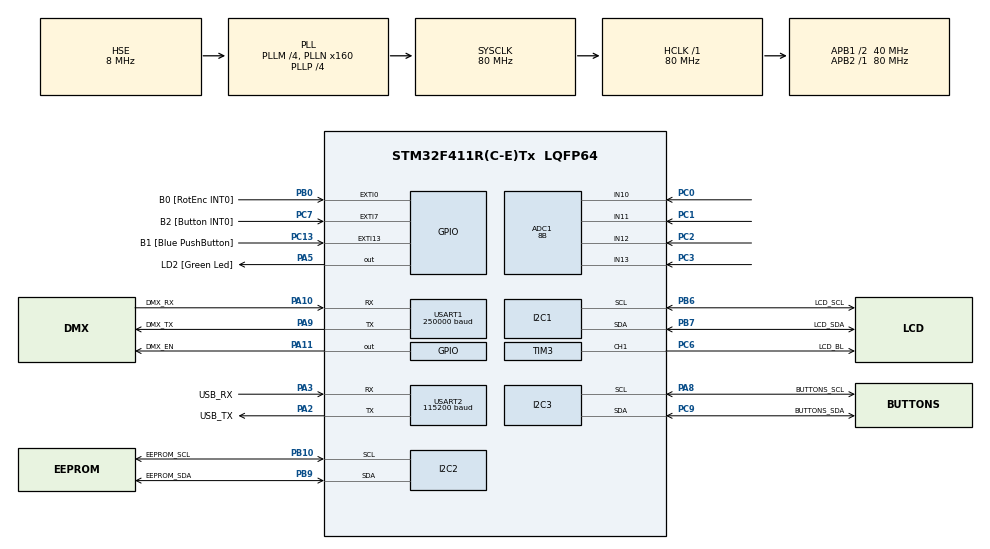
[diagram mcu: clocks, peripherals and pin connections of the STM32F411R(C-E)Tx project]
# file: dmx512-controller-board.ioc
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ADC1.Channel-0\#ChannelRegularConversion=ADC_CHANNEL_10
ADC1.Channel-10\#ChannelInjectedConversion=ADC_CHANNEL_12
ADC1.Channel-11\#ChannelInjectedConversion=ADC_CHANNEL_13
ADC1.Channel-12\#ChannelRegularConversion=ADC_CHANNEL_11
ADC1.Channel-13\#ChannelRegularConversion=ADC_CHANNEL_12
ADC1.Channel-14\#ChannelRegularConversion=ADC_CHANNEL_13
ADC1.Channel-8\#ChannelInjectedConversion=ADC_CHANNEL_10
ADC1.Channel-9\#ChannelInjectedConversion=ADC_CHANNEL_11
ADC1.ClockPrescaler=ADC_CLOCK_SYNC_PCLK_DIV4
ADC1.ContinuousConvMode=DISABLE
ADC1.DMAContinuousRequests=ENABLE
ADC1.DataAlign=ADC_DATAALIGN_RIGHT
ADC1.DiscontinuousConvMode=DISABLE
ADC1.EOCSelection=ADC_EOC_SEQ_CONV
ADC1.EnableAnalogWatchDog=false
ADC1.ExternalTrigConv=ADC_SOFTWARE_START
ADC1.ExternalTrigConvEdge=ADC_EXTERNALTRIGCONVEDGE_NONE
ADC1.ExternalTrigInjecConv=ADC_INJECTED_SOFTWARE_START
ADC1.InjNumberOfConversion=4
ADC1.InjectedConvMode=None
ADC1.InjectedOffset-10\#ChannelInjectedConversion=0
ADC1.InjectedOffset-11\#ChannelInjectedConversion=0
ADC1.InjectedOffset-8\#ChannelInjectedConversion=0
ADC1.InjectedOffset-9\#ChannelInjectedConversion=0
ADC1.NbrOfConversion=4
ADC1.NbrOfConversionFlag=1
ADC1.Rank-0\#ChannelRegularConversion=1
ADC1.Rank-10\#ChannelInjectedConversion=3
ADC1.Rank-11\#ChannelInjectedConversion=4
ADC1.Rank-12\#ChannelRegularConversion=2
ADC1.Rank-13\#ChannelRegularConversion=3
ADC1.Rank-14\#ChannelRegularConversion=4
ADC1.Rank-8\#ChannelInjectedConversion=1
ADC1.Rank-9\#ChannelInjectedConversion=2
ADC1.Resolution=ADC_RESOLUTION_8B
ADC1.SamplingTime-0\#ChannelRegularConversion=ADC_SAMPLETIME_3CYCLES
ADC1.SamplingTime-10\#ChannelInjectedConversion=ADC_SAMPLETIME_3CYCLES
ADC1.SamplingTime-11\#ChannelInjectedConversion=ADC_SAMPLETIME_3CYCLES
ADC1.SamplingTime-12\#ChannelRegularConversion=ADC_SAMPLETIME_3CYCLES
ADC1.SamplingTime-13\#ChannelRegularConversion=ADC_SAMPLETIME_3CYCLES
ADC1.SamplingTime-14\#ChannelRegularConversion=ADC_SAMPLETIME_3CYCLES
ADC1.SamplingTime-8\#ChannelInjectedConversion=ADC_SAMPLETIME_3CYCLES
ADC1.SamplingTime-9\#ChannelInjectedConversion=ADC_SAMPLETIME_3CYCLES
ADC1.ScanConvMode=ENABLE
ADC1.master=1
Dma.ADC1.9.Direction=DMA_PERIPH_TO_MEMORY
Dma.ADC1.9.FIFOMode=DMA_FIFOMODE_DISABLE
Dma.ADC1.9.Instance=DMA2_Stream0
Dma.ADC1.9.MemDataAlignment=DMA_MDATAALIGN_HALFWORD
Dma.ADC1.9.MemInc=DMA_MINC_ENABLE
Dma.ADC1.9.Mode=DMA_CIRCULAR
Dma.ADC1.9.PeriphDataAlignment=DMA_PDATAALIGN_HALFWORD
Dma.ADC1.9.PeriphInc=DMA_PINC_DISABLE
Dma.ADC1.9.Priority=DMA_PRIORITY_LOW
Dma.I2C1_RX.6.Direction=DMA_PERIPH_TO_MEMORY
Dma.I2C1_RX.6.FIFOMode=DMA_FIFOMODE_DISABLE
Dma.I2C1_RX.6.Instance=DMA1_Stream0
Dma.I2C1_RX.6.MemDataAlignment=DMA_MDATAALIGN_BYTE
Dma.I2C1_RX.6.MemInc=DMA_MINC_ENABLE
Dma.I2C1_RX.6.Mode=DMA_CIRCULAR
Dma.I2C1_RX.6.PeriphDataAlignment=DMA_PDATAALIGN_BYTE
Dma.I2C1_RX.6.PeriphInc=DMA_PINC_DISABLE
Dma.I2C1_RX.6.Priority=DMA_PRIORITY_LOW
Dma.I2C1_TX.5.Direction=DMA_MEMORY_TO_PERIPH
Dma.I2C1_TX.5.FIFOMode=DMA_FIFOMODE_DISABLE
Dma.I2C1_TX.5.Instance=DMA1_Stream1
Dma.I2C1_TX.5.MemDataAlignment=DMA_MDATAALIGN_BYTE
Dma.I2C1_TX.5.MemInc=DMA_MINC_ENABLE
Dma.I2C1_TX.5.Mode=DMA_NORMAL
Dma.I2C1_TX.5.PeriphDataAlignment=DMA_PDATAALIGN_BYTE
Dma.I2C1_TX.5.PeriphInc=DMA_PINC_DISABLE
Dma.I2C1_TX.5.Priority=DMA_PRIORITY_LOW
Dma.I2C2_RX.7.Direction=DMA_PERIPH_TO_MEMORY
Dma.I2C2_RX.7.FIFOMode=DMA_FIFOMODE_DISABLE
Dma.I2C2_RX.7.Instance=DMA1_Stream3
Dma.I2C2_RX.7.MemDataAlignment=DMA_MDATAALIGN_BYTE
Dma.I2C2_RX.7.MemInc=DMA_MINC_ENABLE
Dma.I2C2_RX.7.Mode=DMA_CIRCULAR
Dma.I2C2_RX.7.PeriphDataAlignment=DMA_PDATAALIGN_BYTE
Dma.I2C2_RX.7.PeriphInc=DMA_PINC_DISABLE
Dma.I2C2_RX.7.Priority=DMA_PRIORITY_LOW
Dma.I2C2_TX.8.Direction=DMA_MEMORY_TO_PERIPH
Dma.I2C2_TX.8.FIFOMode=DMA_FIFOMODE_DISABLE
Dma.I2C2_TX.8.Instance=DMA1_Stream7
Dma.I2C2_TX.8.MemDataAlignment=DMA_MDATAALIGN_BYTE
Dma.I2C2_TX.8.MemInc=DMA_MINC_ENABLE
Dma.I2C2_TX.8.Mode=DMA_NORMAL
Dma.I2C2_TX.8.PeriphDataAlignment=DMA_PDATAALIGN_BYTE
Dma.I2C2_TX.8.PeriphInc=DMA_PINC_DISABLE
Dma.I2C2_TX.8.Priority=DMA_PRIORITY_LOW
Dma.I2C3_RX.2.Direction=DMA_PERIPH_TO_MEMORY
Dma.I2C3_RX.2.FIFOMode=DMA_FIFOMODE_DISABLE
Dma.I2C3_RX.2.Instance=DMA1_Stream2
Dma.I2C3_RX.2.MemDataAlignment=DMA_MDATAALIGN_BYTE
Dma.I2C3_RX.2.MemInc=DMA_MINC_ENABLE
Dma.I2C3_RX.2.Mode=DMA_CIRCULAR
Dma.I2C3_RX.2.PeriphDataAlignment=DMA_PDATAALIGN_BYTE
Dma.I2C3_RX.2.PeriphInc=DMA_PINC_DISABLE
Dma.I2C3_RX.2.Priority=DMA_PRIORITY_LOW
Dma.I2C3_TX.3.Direction=DMA_MEMORY_TO_PERIPH
Dma.I2C3_TX.3.FIFOMode=DMA_FIFOMODE_DISABLE
Dma.I2C3_TX.3.Instance=DMA1_Stream4
Dma.I2C3_TX.3.MemDataAlignment=DMA_MDATAALIGN_BYTE
Dma.I2C3_TX.3.MemInc=DMA_MINC_ENABLE
Dma.I2C3_TX.3.Mode=DMA_NORMAL
Dma.I2C3_TX.3.PeriphDataAlignment=DMA_PDATAALIGN_BYTE
Dma.I2C3_TX.3.PeriphInc=DMA_PINC_DISABLE
Dma.I2C3_TX.3.Priority=DMA_PRIORITY_LOW
Dma.Request0=USART2_RX
Dma.Request1=USART2_TX
Dma.Request2=I2C3_RX
Dma.Request3=I2C3_TX
Dma.Request4=USART1_TX
Dma.Request5=I2C1_TX
Dma.Request6=I2C1_RX
Dma.Request7=I2C2_RX
Dma.Request8=I2C2_TX
Dma.Request9=ADC1
Dma.USART1_TX.4.Direction=DMA_MEMORY_TO_PERIPH
Dma.USART1_TX.4.FIFOMode=DMA_FIFOMODE_DISABLE
Dma.USART1_TX.4.Instance=DMA2_Stream7
Dma.USART1_TX.4.MemDataAlignment=DMA_MDATAALIGN_BYTE
Dma.USART1_TX.4.MemInc=DMA_MINC_ENABLE
Dma.USART1_TX.4.Mode=DMA_NORMAL
Dma.USART1_TX.4.PeriphDataAlignment=DMA_PDATAALIGN_BYTE
Dma.USART1_TX.4.PeriphInc=DMA_PINC_DISABLE
Dma.USART1_TX.4.Priority=DMA_PRIORITY_LOW
Dma.USART2_RX.0.Direction=DMA_PERIPH_TO_MEMORY
Dma.USART2_RX.0.FIFOMode=DMA_FIFOMODE_DISABLE
Dma.USART2_RX.0.Instance=DMA1_Stream5
Dma.USART2_RX.0.MemDataAlignment=DMA_MDATAALIGN_BYTE
Dma.USART2_RX.0.MemInc=DMA_MINC_ENABLE
Dma.USART2_RX.0.Mode=DMA_CIRCULAR
Dma.USART2_RX.0.PeriphDataAlignment=DMA_PDATAALIGN_BYTE
Dma.USART2_RX.0.PeriphInc=DMA_PINC_DISABLE
Dma.USART2_RX.0.Priority=DMA_PRIORITY_LOW
Dma.USART2_TX.1.Direction=DMA_MEMORY_TO_PERIPH
Dma.USART2_TX.1.FIFOMode=DMA_FIFOMODE_DISABLE
Dma.USART2_TX.1.Instance=DMA1_Stream6
Dma.USART2_TX.1.MemDataAlignment=DMA_MDATAALIGN_BYTE
Dma.USART2_TX.1.MemInc=DMA_MINC_ENABLE
Dma.USART2_TX.1.Mode=DMA_NORMAL
Dma.USART2_TX.1.PeriphDataAlignment=DMA_PDATAALIGN_BYTE
Dma.USART2_TX.1.PeriphInc=DMA_PINC_DISABLE
Dma.USART2_TX.1.Priority=DMA_PRIORITY_LOW
I2C1.I2C_Mode=I2C_Fast
I2C2.I2C_Mode=I2C_Fast
I2C3.I2C_Mode=I2C_Fast
Mcu.Family=STM32F4
Mcu.Name=STM32F411R(C-E)Tx
Mcu.Package=LQFP64
NVIC.ADC_IRQn=true\:0\:0\:false\:false\:true
NVIC.DMA1_Stream0_IRQn=true\:0\:0\:false\:false\:true
NVIC.DMA1_Stream1_IRQn=true\:0\:0\:false\:false\:true
NVIC.DMA1_Stream2_IRQn=true\:0\:0\:false\:false\:true
NVIC.DMA1_Stream3_IRQn=true\:0\:0\:false\:false\:true
NVIC.DMA1_Stream4_IRQn=true\:0\:0\:false\:false\:true
NVIC.DMA1_Stream5_IRQn=true\:0\:0\:false\:false\:true
NVIC.DMA1_Stream6_IRQn=true\:0\:0\:false\:false\:true
NVIC.DMA1_Stream7_IRQn=true\:0\:0\:false\:false\:true
NVIC.DMA2_Stream0_IRQn=true\:0\:0\:false\:false\:true
NVIC.DMA2_Stream7_IRQn=true\:0\:0\:false\:false\:true
NVIC.I2C1_EV_IRQn=true\:0\:0\:false\:false\:true
NVIC.I2C2_EV_IRQn=true\:0\:0\:false\:false\:true
NVIC.I2C3_EV_IRQn=true\:0\:0\:false\:false\:true
NVIC.PriorityGroup=NVIC_PRIORITYGROUP_0
NVIC.TIM2_IRQn=true\:0\:0\:false\:false\:true
NVIC.TIM4_IRQn=true\:0\:0\:false\:false\:true
PA10.GPIO_Label=DMX_RX
PA10.Mode=Asynchronous
PA10.Signal=USART1_RX
PA11.GPIO_Label=DMX_EN
PA11.PinState=GPIO_PIN_SET
PA11.Signal=GPIO_Output
PA13.GPIO_Label=TMS
PA13.Mode=Serial_Wire
PA13.Signal=SYS_JTMS-SWDIO
PA14.GPIO_Label=TCK
PA14.Mode=Serial_Wire
PA14.Signal=SYS_JTCK-SWCLK
PA2.GPIO_Label=USB_TX
PA2.Mode=Asynchronous
PA2.Signal=USART2_TX
PA3.GPIO_Label=USB_RX
PA3.Mode=Asynchronous
PA3.Signal=USART2_RX
PA5.GPIO_Label=LD2 [Green Led]
PA5.Signal=GPIO_Output
PA8.GPIO_Label=BUTTONS_SCL
PA8.Mode=I2C
PA8.Signal=I2C3_SCL
PA9.GPIO_Label=DMX_TX
PA9.Mode=Asynchronous
PA9.Signal=USART1_TX
PB0.GPIO_Label=B0 [RotEnc INT0]
PB0.GPIO_ModeDefaultEXTI=GPIO_MODE_IT_RISING_FALLING
PB0.Signal=GPXTI0
PB10.GPIO_Label=EEPROM_SCL
PB10.Mode=I2C
PB10.Signal=I2C2_SCL
PB3.GPIO_Label=SWO
PB3.Signal=SYS_JTDO-SWO
PB6.GPIO_Label=LCD_SCL
PB6.Mode=I2C
PB6.Signal=I2C1_SCL
PB7.GPIO_Label=LCD_SDA
PB7.Mode=I2C
PB7.Signal=I2C1_SDA
PB9.GPIO_Label=EEPROM_SDA
PB9.Mode=I2C
PB9.Signal=I2C2_SDA
PC0.Signal=ADCx_IN10
PC1.Signal=ADCx_IN11
PC13-ANTI_TAMP.GPIO_Label=B1 [Blue PushButton]
PC13-ANTI_TAMP.GPIO_ModeDefaultEXTI=GPIO_MODE_IT_FALLING
PC13-ANTI_TAMP.Signal=GPXTI13
PC14-OSC32_IN.Mode=LSE-External-Oscillator
PC14-OSC32_IN.Signal=RCC_OSC32_IN
PC15-OSC32_OUT.Mode=LSE-External-Oscillator
PC15-OSC32_OUT.Signal=RCC_OSC32_OUT
PC2.Signal=ADCx_IN12
PC3.Signal=ADCx_IN13
PC6.GPIO_Label=LCD_BL
PC6.Signal=S_TIM3_CH1
PC7.GPIO_Label=B2 [Button INT0]
PC7.GPIO_ModeDefaultEXTI=GPIO_MODE_IT_RISING_FALLING
PC7.Signal=GPXTI7
PC9.GPIO_Label=BUTTONS_SDA
PC9.Mode=I2C
PC9.Signal=I2C3_SDA
PH0\ -\ OSC_IN.Mode=HSE-External-Oscillator
PH0\ -\ OSC_IN.Signal=RCC_OSC_IN
PH1\ -\ OSC_OUT.Mode=HSE-External-Oscillator
PH1\ -\ OSC_OUT.Signal=RCC_OSC_OUT
ProjectManager.HeapSize=0x200
ProjectManager.StackSize=0x400
ProjectManager.TargetToolchain=TrueSTUDIO
RCC.48MHZClocksFreq_Value=80000000
RCC.AHBFreq_Value=80000000
RCC.APB1CLKDivider=RCC_HCLK_DIV2
RCC.APB1Freq_Value=40000000
RCC.APB1TimFreq_Value=80000000
RCC.APB2Freq_Value=80000000
RCC.APB2TimFreq_Value=80000000
RCC.CortexFreq_Value=80000000
RCC.FLatency-AdvancedSettings=FLASH_LATENCY_2
RCC.HCLKFreq_Value=80000000
RCC.HSE_VALUE=8000000
RCC.HSI_VALUE=16000000
RCC.PLLM=4
RCC.PLLN=160
RCC.PLLP=RCC_PLLP_DIV4
RCC.PLLSourceVirtual=RCC_PLLSOURCE_HSE
RCC.SYSCLKFreq_VALUE=80000000
RCC.SYSCLKSource=RCC_SYSCLKSOURCE_PLLCLK
RCC.VCOOutputFreq_Value=320000000
SH.ADCx_IN10.0=ADC1_IN10,IN10
SH.ADCx_IN11.0=ADC1_IN11,IN11
SH.ADCx_IN12.0=ADC1_IN12,IN12
SH.ADCx_IN13.0=ADC1_IN13,IN13
SH.S_TIM3_CH1.0=TIM3_CH1,PWM Generation1 CH1
TIM2.Period=0xFFFFFFFF
TIM2.Prescaler=79
TIM3.Period=100
TIM3.Prescaler=0
TIM3.Pulse-PWM\ Generation1\ CH1=100
TIM4.Period=0xFFFF
TIM4.Prescaler=79
USART1.BaudRate=250000
USART1.Mode=MODE_TX
USART1.StopBits=STOPBITS_2
USART2.BaudRate=115200
VP_TIM2_VS_ClockSourceINT.Mode=Internal
VP_TIM3_VS_ClockSourceINT.Mode=Internal
VP_TIM4_VS_ClockSourceINT.Mode=Internal
board=NUCLEO-F411RE

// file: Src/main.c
/**
 ******************************************************************************
 * File Name          : main.c
 * Description        : Main program body
 ******************************************************************************
 *
 * COPYRIGHT(c) 2017 STMicroelectronics
 *
 * Redistribution and use in source and binary forms, with or without modification,
 * are permitted provided that the following conditions are met:
 *   1. Redistributions of source code must retain the above copyright notice,
 *      this list of conditions and the following disclaimer.
 *   2. Redistributions in binary form must reproduce the above copyright notice,
 *      this list of conditions and the following disclaimer in the documentation
 *      and/or other materials provided with the distribution.
 *   3. Neither the name of STMicroelectronics nor the names of its contributors
 *      may be used to endorse or promote products derived from this software
 *      without specific prior written permission.
 *
 * THIS SOFTWARE IS PROVIDED BY THE COPYRIGHT HOLDERS AND CONTRIBUTORS "AS IS"
 * AND ANY EXPRESS OR IMPLIED WARRANTIES, INCLUDING, BUT NOT LIMITED TO, THE
 * IMPLIED WARRANTIES OF MERCHANTABILITY AND FITNESS FOR A PARTICULAR PURPOSE ARE
 * DISCLAIMED. IN NO EVENT SHALL THE COPYRIGHT HOLDER OR CONTRIBUTORS BE LIABLE
 * FOR ANY DIRECT, INDIRECT, INCIDENTAL, SPECIAL, EXEMPLARY, OR CONSEQUENTIAL
 * DAMAGES (INCLUDING, BUT NOT LIMITED TO, PROCUREMENT OF SUBSTITUTE GOODS OR
 * SERVICES; LOSS OF USE, DATA, OR PROFITS; OR BUSINESS INTERRUPTION) HOWEVER
 * CAUSED AND ON ANY THEORY OF LIABILITY, WHETHER IN CONTRACT, STRICT LIABILITY,
 * OR TORT (INCLUDING NEGLIGENCE OR OTHERWISE) ARISING IN ANY WAY OUT OF THE USE
 * OF THIS SOFTWARE, EVEN IF ADVISED OF THE POSSIBILITY OF SUCH DAMAGE.
 *
 ******************************************************************************
 */
#include "main.h"
#include "stm32f4xx_hal.h"

/* USER CODE BEGIN Includes */
#include <stdio.h>
#include <stdlib.h>
#include <stdint.h>

#include "serial.h"
#include "dmx512.h"
#include "eeprom.h"
#include "lcd.h"
#include "buttons.h"
#include "controller.h"
#include "sys_public.h"

/* USER CODE END Includes */

ADC_HandleTypeDef hadc1;
DMA_HandleTypeDef hdma_adc1;

I2C_HandleTypeDef hi2c1;
I2C_HandleTypeDef hi2c2;
I2C_HandleTypeDef hi2c3;
DMA_HandleTypeDef hdma_i2c1_tx;
DMA_HandleTypeDef hdma_i2c1_rx;
DMA_HandleTypeDef hdma_i2c2_rx;
DMA_HandleTypeDef hdma_i2c2_tx;
DMA_HandleTypeDef hdma_i2c3_rx;
DMA_HandleTypeDef hdma_i2c3_tx;

TIM_HandleTypeDef htim2;
TIM_HandleTypeDef htim3;
TIM_HandleTypeDef htim4;

UART_HandleTypeDef huart1;
UART_HandleTypeDef huart2;
DMA_HandleTypeDef hdma_usart1_tx;
DMA_HandleTypeDef hdma_usart2_rx;
DMA_HandleTypeDef hdma_usart2_tx;

/* USER CODE BEGIN PV */
/* Private variables ---------------------------------------------------------*/
volatile uint8_t adcFinished = 1;

/* USER CODE END PV */

void SystemClock_Config(void);
void Error_Handler(void);
static void MX_GPIO_Init(void);
static void MX_DMA_Init(void);
static void MX_ADC1_Init(void);
static void MX_I2C1_Init(void);
static void MX_I2C2_Init(void);
static void MX_I2C3_Init(void);
static void MX_TIM2_Init(void);
static void MX_TIM3_Init(void);
static void MX_USART1_UART_Init(void);
static void MX_USART2_UART_Init(void);
static void MX_TIM4_Init(void);

void HAL_TIM_MspPostInit(TIM_HandleTypeDef *htim);

/* USER CODE BEGIN PFP */
/* Private function prototypes -----------------------------------------------*/

/* USER CODE END PFP */

/* USER CODE BEGIN 0 */
void EXTI15_10_IRQHandler(void) {
	// Blue button interrupt
	EXTI->PR |= B1_Pin;
}

void HAL_ADCEx_InjectedConvCpltCallback(ADC_HandleTypeDef* hadc) {
	// ADC has finished reading and converting the values on the four pins
	adcValues[0] = HAL_ADCEx_InjectedGetValue(&hadc1, ADC_INJECTED_RANK_1);
	adcValues[1] = HAL_ADCEx_InjectedGetValue(&hadc1, ADC_INJECTED_RANK_2);
	adcValues[2] = HAL_ADCEx_InjectedGetValue(&hadc1, ADC_INJECTED_RANK_3);
	adcValues[3] = HAL_ADCEx_InjectedGetValue(&hadc1, ADC_INJECTED_RANK_4);
	adcFinished = 1;
}

static uint16_t Buffercmp(uint8_t *pBuffer1, uint8_t *pBuffer2, uint16_t BufferLength) {
	while (BufferLength--) {
		uint8_t a = *pBuffer1;
		uint8_t b = *pBuffer2;
		if (a != b) {
			return 0;
		}
		pBuffer1++;
		pBuffer2++;
	}
	return 1;
}

int testEEPROM() {
	uint16_t len = 512;
	uint8_t data[len];
	uint8_t result[len];
	int i;
	for (i = 0; i < len; i++) {
		data[i] = 0;
	}
	for (i = 0; i < 9; i++) {
		EEPROMwrite(512 * i, (uint8_t *) data, len);
		while (!EEPROMfinished())
			;
		EEPROMread(512 * i, (uint8_t *) result, len);
		while (!EEPROMfinished())
			;
		if (!Buffercmp((uint8_t *) data, (uint8_t *) result, len))
			return 0;
	}
	return 1;
}
/* USER CODE END 0 */

int main(void) {

	/* MCU Configuration----------------------------------------------------------*/

	/* Reset of all peripherals, Initializes the Flash interface and the Systick. */
	HAL_Init();

	/* Configure the system clock */
	SystemClock_Config();

	/* Initialize all configured peripherals */
	MX_GPIO_Init();
	MX_DMA_Init();
	MX_ADC1_Init();
	MX_I2C1_Init();
	MX_I2C2_Init();
	MX_I2C3_Init();
	MX_TIM2_Init();
	MX_TIM3_Init();
	MX_USART1_UART_Init();
	MX_USART2_UART_Init();
	MX_TIM4_Init();

	/* USER CODE BEGIN 2 */
	LCDinit(&htim4, &htim3, &hi2c1);
	LCDfadeBrightness(100, 3);

	LCDclearRow(0);
	LCDcursorPos(0, 0);
	LCDwrite("ERROR COM");
	SerialInit(&huart2);

	LCDclearRow(0);
	LCDcursorPos(0, 0);
	LCDwrite("ERROR DMX");
	Dmx512Init(&htim2, &huart1);

	LCDclearRow(0);
	LCDcursorPos(0, 0);
	LCDwrite("ERROR EEPROM");
	EEPROMInit(&hi2c2);
//	if (!testEEPROM()) {
//		LCDcursorPos(0, 0);
//		LCDwrite("EEPROM Test failed");
//		while (1)
//			;
//	}

	LCDclearRow(0);
	LCDcursorPos(0, 0);
	LCDwrite("ERROR ADC");
	HAL_ADC_Start(&hadc1);

	LCDclearRow(0);
	LCDcursorPos(0, 0);
	LCDwrite("ERROR BUTTONS");
	ButtonsInit(&hi2c3);

	// Buttons I/O expander interrupt
	HAL_NVIC_EnableIRQ(EXTI9_5_IRQn);
	HAL_NVIC_SetPriority(EXTI9_5_IRQn, 0, 0);

	HAL_NVIC_EnableIRQ(EXTI0_IRQn);
	HAL_NVIC_SetPriority(EXTI0_IRQn, 0, 0);

	selectedDmxChannels[0] = 0;
	selectedDmxChannels[1] = 1;
	selectedDmxChannels[2] = 2;
	selectedDmxChannels[3] = 3;

	controllerMenuFunction = &ControllerEditProgram;
	prevControllerMenuFunction = &ControllerEditProgram;
	/* USER CODE END 2 */

	/* Infinite loop */
	/* USER CODE BEGIN WHILE */
	int i;
	while (1) {
		/* USER CODE END WHILE */

		/* USER CODE BEGIN 3 */
		if (adcFinished) {
			adcFinished = 0;
			HAL_ADCEx_InjectedStart_IT(&hadc1);
			for (i = 0; i < 4; i++) {
				if (!selectedDmxInputLock[i])
					Dmx512SetChannelValue(selectedDmxChannels[i], adcValues[i]);
			}
		}
		ControllerUpdate();
	}
	/* USER CODE END 3 */
}

/** System Clock Configuration
 */
void SystemClock_Config(void) {

	RCC_OscInitTypeDef RCC_OscInitStruct;
	RCC_ClkInitTypeDef RCC_ClkInitStruct;

	/**Configure the main internal regulator output voltage
	 */
	__HAL_RCC_PWR_CLK_ENABLE()
	;

	__HAL_PWR_VOLTAGESCALING_CONFIG(PWR_REGULATOR_VOLTAGE_SCALE1);

	/**Initializes the CPU, AHB and APB busses clocks
	 */
	RCC_OscInitStruct.OscillatorType = RCC_OSCILLATORTYPE_HSE;
	RCC_OscInitStruct.HSEState = RCC_HSE_ON;
	RCC_OscInitStruct.PLL.PLLState = RCC_PLL_ON;
	RCC_OscInitStruct.PLL.PLLSource = RCC_PLLSOURCE_HSE;
	RCC_OscInitStruct.PLL.PLLM = 4;
	RCC_OscInitStruct.PLL.PLLN = 160;
	RCC_OscInitStruct.PLL.PLLP = RCC_PLLP_DIV4;
	RCC_OscInitStruct.PLL.PLLQ = 4;
	if (HAL_RCC_OscConfig(&RCC_OscInitStruct) != HAL_OK) {
		Error_Handler();
	}

	/**Initializes the CPU, AHB and APB busses clocks
	 */
	RCC_ClkInitStruct.ClockType = RCC_CLOCKTYPE_HCLK | RCC_CLOCKTYPE_SYSCLK | RCC_CLOCKTYPE_PCLK1 | RCC_CLOCKTYPE_PCLK2;
	RCC_ClkInitStruct.SYSCLKSource = RCC_SYSCLKSOURCE_PLLCLK;
	RCC_ClkInitStruct.AHBCLKDivider = RCC_SYSCLK_DIV1;
	RCC_ClkInitStruct.APB1CLKDivider = RCC_HCLK_DIV2;
	RCC_ClkInitStruct.APB2CLKDivider = RCC_HCLK_DIV1;

	if (HAL_RCC_ClockConfig(&RCC_ClkInitStruct, FLASH_LATENCY_2) != HAL_OK) {
		Error_Handler();
	}

	/**Configure the Systick interrupt time
	 */
	HAL_SYSTICK_Config(HAL_RCC_GetHCLKFreq() / 1000);

	/**Configure the Systick
	 */
	HAL_SYSTICK_CLKSourceConfig(SYSTICK_CLKSOURCE_HCLK);

	/* SysTick_IRQn interrupt configuration */
	HAL_NVIC_SetPriority(SysTick_IRQn, 0, 0);
}

/* ADC1 init function */
static void MX_ADC1_Init(void) {

//	ADC_ChannelConfTypeDef sConfig;
	ADC_InjectionConfTypeDef sConfigInjected;

	/**Configure the global features of the ADC (Clock, Resolution, Data Alignment and number of conversion)
	 */
	hadc1.Instance = ADC1;
	hadc1.Init.ClockPrescaler = ADC_CLOCK_SYNC_PCLK_DIV4;
	hadc1.Init.Resolution = ADC_RESOLUTION_8B;
	hadc1.Init.ScanConvMode = ENABLE;
	hadc1.Init.ContinuousConvMode = DISABLE;
	hadc1.Init.DiscontinuousConvMode = DISABLE;
	hadc1.Init.ExternalTrigConvEdge = ADC_EXTERNALTRIGCONVEDGE_NONE;
	hadc1.Init.ExternalTrigConv = ADC_SOFTWARE_START;
	hadc1.Init.DataAlign = ADC_DATAALIGN_RIGHT;
	hadc1.Init.NbrOfConversion = 4;
	hadc1.Init.DMAContinuousRequests = ENABLE;
	hadc1.Init.EOCSelection = ADC_EOC_SEQ_CONV;
	if (HAL_ADC_Init(&hadc1) != HAL_OK) {
		Error_Handler();
	}

//	/**Configure for the selected ADC regular channel its corresponding rank in the sequencer and its sample time.
//	 */
//	sConfig.Channel = ADC_CHANNEL_10;
//	sConfig.Rank = 1;
//	sConfig.SamplingTime = ADC_SAMPLETIME_84CYCLES;
//	if (HAL_ADC_ConfigChannel(&hadc1, &sConfig) != HAL_OK) {
//		Error_Handler();
//	}
//
//	/**Configure for the selected ADC regular channel its corresponding rank in the sequencer and its sample time.
//	 */
//	sConfig.Channel = ADC_CHANNEL_11;
//	sConfig.Rank = 2;
//	if (HAL_ADC_ConfigChannel(&hadc1, &sConfig) != HAL_OK) {
//		Error_Handler();
//	}
//
//	/**Configure for the selected ADC regular channel its corresponding rank in the sequencer and its sample time.
//	 */
//	sConfig.Channel = ADC_CHANNEL_12;
//	sConfig.Rank = 3;
//	if (HAL_ADC_ConfigChannel(&hadc1, &sConfig) != HAL_OK) {
//		Error_Handler();
//	}
//
//	/**Configure for the selected ADC regular channel its corresponding rank in the sequencer and its sample time.
//	 */
//	sConfig.Channel = ADC_CHANNEL_13;
//	sConfig.Rank = 4;
//	if (HAL_ADC_ConfigChannel(&hadc1, &sConfig) != HAL_OK) {
//		Error_Handler();
//	}

	/**Configures for the selected ADC injected channel its corresponding rank in the sequencer and its sample time
	 */
	sConfigInjected.InjectedChannel = ADC_CHANNEL_10;
	sConfigInjected.InjectedRank = 1;
	sConfigInjected.InjectedNbrOfConversion = 4;
	sConfigInjected.InjectedSamplingTime = ADC_SAMPLETIME_3CYCLES;
	sConfigInjected.ExternalTrigInjecConvEdge = ADC_EXTERNALTRIGINJECCONVEDGE_NONE;
	sConfigInjected.ExternalTrigInjecConv = ADC_INJECTED_SOFTWARE_START;
	sConfigInjected.AutoInjectedConv = DISABLE;
	sConfigInjected.InjectedDiscontinuousConvMode = DISABLE;
	sConfigInjected.InjectedOffset = 0;
	if (HAL_ADCEx_InjectedConfigChannel(&hadc1, &sConfigInjected) != HAL_OK) {
		Error_Handler();
	}

	/**Configures for the selected ADC injected channel its corresponding rank in the sequencer and its sample time
	 */
	sConfigInjected.InjectedChannel = ADC_CHANNEL_11;
	sConfigInjected.InjectedRank = 2;
	if (HAL_ADCEx_InjectedConfigChannel(&hadc1, &sConfigInjected) != HAL_OK) {
		Error_Handler();
	}

	/**Configures for the selected ADC injected channel its corresponding rank in the sequencer and its sample time
	 */
	sConfigInjected.InjectedChannel = ADC_CHANNEL_12;
	sConfigInjected.InjectedRank = 3;
	if (HAL_ADCEx_InjectedConfigChannel(&hadc1, &sConfigInjected) != HAL_OK) {
		Error_Handler();
	}

	/**Configures for the selected ADC injected channel its corresponding rank in the sequencer and its sample time
	 */
	sConfigInjected.InjectedChannel = ADC_CHANNEL_13;
	sConfigInjected.InjectedRank = 4;
	if (HAL_ADCEx_InjectedConfigChannel(&hadc1, &sConfigInjected) != HAL_OK) {
		Error_Handler();
	}

}

/* I2C1 init function */
static void MX_I2C1_Init(void) {

	hi2c1.Instance = I2C1;
	hi2c1.Init.ClockSpeed = 400000;
	hi2c1.Init.DutyCycle = I2C_DUTYCYCLE_2;
	hi2c1.Init.OwnAddress1 = 0;
	hi2c1.Init.AddressingMode = I2C_ADDRESSINGMODE_7BIT;
	hi2c1.Init.DualAddressMode = I2C_DUALADDRESS_DISABLE;
	hi2c1.Init.OwnAddress2 = 0;
	hi2c1.Init.GeneralCallMode = I2C_GENERALCALL_DISABLE;
	hi2c1.Init.NoStretchMode = I2C_NOSTRETCH_DISABLE;
	if (HAL_I2C_Init(&hi2c1) != HAL_OK) {
		Error_Handler();
	}

}

/* I2C2 init function */
static void MX_I2C2_Init(void) {

	hi2c2.Instance = I2C2;
	hi2c2.Init.ClockSpeed = 400000;
	hi2c2.Init.DutyCycle = I2C_DUTYCYCLE_2;
	hi2c2.Init.OwnAddress1 = 0;
	hi2c2.Init.AddressingMode = I2C_ADDRESSINGMODE_7BIT;
	hi2c2.Init.DualAddressMode = I2C_DUALADDRESS_DISABLE;
	hi2c2.Init.OwnAddress2 = 0;
	hi2c2.Init.GeneralCallMode = I2C_GENERALCALL_DISABLE;
	hi2c2.Init.NoStretchMode = I2C_NOSTRETCH_DISABLE;
	if (HAL_I2C_Init(&hi2c2) != HAL_OK) {
		Error_Handler();
	}

}

/* I2C3 init function */
static void MX_I2C3_Init(void) {

	hi2c3.Instance = I2C3;
	hi2c3.Init.ClockSpeed = 400000;
	hi2c3.Init.DutyCycle = I2C_DUTYCYCLE_2;
	hi2c3.Init.OwnAddress1 = 0;
	hi2c3.Init.AddressingMode = I2C_ADDRESSINGMODE_7BIT;
	hi2c3.Init.DualAddressMode = I2C_DUALADDRESS_DISABLE;
	hi2c3.Init.OwnAddress2 = 0;
	hi2c3.Init.GeneralCallMode = I2C_GENERALCALL_DISABLE;
	hi2c3.Init.NoStretchMode = I2C_NOSTRETCH_DISABLE;
	if (HAL_I2C_Init(&hi2c3) != HAL_OK) {
		Error_Handler();
	}

}

/* TIM2 init function */
static void MX_TIM2_Init(void) {

	TIM_ClockConfigTypeDef sClockSourceConfig;
	TIM_MasterConfigTypeDef sMasterConfig;

	htim2.Instance = TIM2;
	htim2.Init.Prescaler = 79;
	htim2.Init.CounterMode = TIM_COUNTERMODE_UP;
	htim2.Init.Period = 0xFFFFFFFF;
	htim2.Init.ClockDivision = TIM_CLOCKDIVISION_DIV1;
	if (HAL_TIM_Base_Init(&htim2) != HAL_OK) {
		Error_Handler();
	}

	sClockSourceConfig.ClockSource = TIM_CLOCKSOURCE_INTERNAL;
	if (HAL_TIM_ConfigClockSource(&htim2, &sClockSourceConfig) != HAL_OK) {
		Error_Handler();
	}

	sMasterConfig.MasterOutputTrigger = TIM_TRGO_RESET;
	sMasterConfig.MasterSlaveMode = TIM_MASTERSLAVEMODE_DISABLE;
	if (HAL_TIMEx_MasterConfigSynchronization(&htim2, &sMasterConfig) != HAL_OK) {
		Error_Handler();
	}

}

/* TIM3 init function */
static void MX_TIM3_Init(void) {

	TIM_ClockConfigTypeDef sClockSourceConfig;
	TIM_MasterConfigTypeDef sMasterConfig;
	TIM_OC_InitTypeDef sConfigOC;

	htim3.Instance = TIM3;
	htim3.Init.Prescaler = 0;
	htim3.Init.CounterMode = TIM_COUNTERMODE_UP;
	htim3.Init.Period = 100;
	htim3.Init.ClockDivision = TIM_CLOCKDIVISION_DIV1;
	if (HAL_TIM_Base_Init(&htim3) != HAL_OK) {
		Error_Handler();
	}

	sClockSourceConfig.ClockSource = TIM_CLOCKSOURCE_INTERNAL;
	if (HAL_TIM_ConfigClockSource(&htim3, &sClockSourceConfig) != HAL_OK) {
		Error_Handler();
	}

	if (HAL_TIM_PWM_Init(&htim3) != HAL_OK) {
		Error_Handler();
	}

	sMasterConfig.MasterOutputTrigger = TIM_TRGO_RESET;
	sMasterConfig.MasterSlaveMode = TIM_MASTERSLAVEMODE_DISABLE;
	if (HAL_TIMEx_MasterConfigSynchronization(&htim3, &sMasterConfig) != HAL_OK) {
		Error_Handler();
	}

	sConfigOC.OCMode = TIM_OCMODE_PWM1;
	sConfigOC.Pulse = 0;
	sConfigOC.OCPolarity = TIM_OCPOLARITY_HIGH;
	sConfigOC.OCFastMode = TIM_OCFAST_DISABLE;
	if (HAL_TIM_PWM_ConfigChannel(&htim3, &sConfigOC, TIM_CHANNEL_1) != HAL_OK) {
		Error_Handler();
	}

	HAL_TIM_MspPostInit(&htim3);

}

/* TIM4 init function */
static void MX_TIM4_Init(void) {

	TIM_ClockConfigTypeDef sClockSourceConfig;
	TIM_MasterConfigTypeDef sMasterConfig;

	htim4.Instance = TIM4;
	htim4.Init.Prescaler = 79;
	htim4.Init.CounterMode = TIM_COUNTERMODE_UP;
	htim4.Init.Period = 0xFFFF;
	htim4.Init.ClockDivision = TIM_CLOCKDIVISION_DIV1;
	if (HAL_TIM_Base_Init(&htim4) != HAL_OK) {
		Error_Handler();
	}

	sClockSourceConfig.ClockSource = TIM_CLOCKSOURCE_INTERNAL;
	if (HAL_TIM_ConfigClockSource(&htim4, &sClockSourceConfig) != HAL_OK) {
		Error_Handler();
	}

	sMasterConfig.MasterOutputTrigger = TIM_TRGO_RESET;
	sMasterConfig.MasterSlaveMode = TIM_MASTERSLAVEMODE_DISABLE;
	if (HAL_TIMEx_MasterConfigSynchronization(&htim4, &sMasterConfig) != HAL_OK) {
		Error_Handler();
	}

}

/* USART1 init function */
static void MX_USART1_UART_Init(void) {

	huart1.Instance = USART1;
	huart1.Init.BaudRate = 250000;
	huart1.Init.WordLength = UART_WORDLENGTH_8B;
	huart1.Init.StopBits = UART_STOPBITS_2;
	huart1.Init.Parity = UART_PARITY_NONE;
	huart1.Init.Mode = UART_MODE_TX;
	huart1.Init.HwFlowCtl = UART_HWCONTROL_NONE;
	huart1.Init.OverSampling = UART_OVERSAMPLING_16;
	if (HAL_UART_Init(&huart1) != HAL_OK) {
		Error_Handler();
	}

}

/* USART2 init function */
static void MX_USART2_UART_Init(void) {

	huart2.Instance = USART2;
	huart2.Init.BaudRate = 250000;
	huart2.Init.WordLength = UART_WORDLENGTH_8B;
	huart2.Init.StopBits = UART_STOPBITS_2;
	huart2.Init.Parity = UART_PARITY_NONE;
	huart2.Init.Mode = UART_MODE_TX_RX;
	huart2.Init.HwFlowCtl = UART_HWCONTROL_NONE;
	huart2.Init.OverSampling = UART_OVERSAMPLING_16;
	if (HAL_UART_Init(&huart2) != HAL_OK) {
		Error_Handler();
	}
}

static void MX_DMA_Init(void) {
	/* DMA controller clock enable */
	__HAL_RCC_DMA1_CLK_ENABLE()
	;
	__HAL_RCC_DMA2_CLK_ENABLE()
	;

	/* DMA interrupt init */
	/* DMA1_Stream0_IRQn interrupt configuration */
	HAL_NVIC_SetPriority(DMA1_Stream0_IRQn, 0, 0);
	HAL_NVIC_EnableIRQ(DMA1_Stream0_IRQn);
	/* DMA1_Stream1_IRQn interrupt configuration */
	HAL_NVIC_SetPriority(DMA1_Stream1_IRQn, 0, 0);
	HAL_NVIC_EnableIRQ(DMA1_Stream1_IRQn);
	/* DMA1_Stream2_IRQn interrupt configuration */
	HAL_NVIC_SetPriority(DMA1_Stream2_IRQn, 0, 0);
	HAL_NVIC_EnableIRQ(DMA1_Stream2_IRQn);
	/* DMA1_Stream3_IRQn interrupt configuration */
	HAL_NVIC_SetPriority(DMA1_Stream3_IRQn, 0, 0);
	HAL_NVIC_EnableIRQ(DMA1_Stream3_IRQn);
	/* DMA1_Stream4_IRQn interrupt configuration */
	HAL_NVIC_SetPriority(DMA1_Stream4_IRQn, 0, 0);
	HAL_NVIC_EnableIRQ(DMA1_Stream4_IRQn);
	/* DMA1_Stream5_IRQn interrupt configuration */
	HAL_NVIC_SetPriority(DMA1_Stream5_IRQn, 0, 0);
	HAL_NVIC_EnableIRQ(DMA1_Stream5_IRQn);
	/* DMA1_Stream6_IRQn interrupt configuration */
	HAL_NVIC_SetPriority(DMA1_Stream6_IRQn, 0, 0);
	HAL_NVIC_EnableIRQ(DMA1_Stream6_IRQn);
	/* DMA1_Stream7_IRQn interrupt configuration */
	HAL_NVIC_SetPriority(DMA1_Stream7_IRQn, 0, 0);
	HAL_NVIC_EnableIRQ(DMA1_Stream7_IRQn);
	/* DMA2_Stream0_IRQn interrupt configuration */
	HAL_NVIC_SetPriority(DMA2_Stream0_IRQn, 0, 0);
	HAL_NVIC_EnableIRQ(DMA2_Stream0_IRQn);
	/* DMA2_Stream7_IRQn interrupt configuration */
	HAL_NVIC_SetPriority(DMA2_Stream7_IRQn, 0, 0);
	HAL_NVIC_EnableIRQ(DMA2_Stream7_IRQn);

}

/** Configure pins as
 * Analog
 * Input
 * Output
 * EVENT_OUT
 * EXTI
 */
static void MX_GPIO_Init(void) {

	GPIO_InitTypeDef GPIO_InitStruct;

	/* GPIO Ports Clock Enable */
	__HAL_RCC_GPIOC_CLK_ENABLE()
	;
	__HAL_RCC_GPIOH_CLK_ENABLE()
	;
	__HAL_RCC_GPIOA_CLK_ENABLE()
	;
	__HAL_RCC_GPIOB_CLK_ENABLE()
	;

	/*Configure GPIO pin Output Level */
	HAL_GPIO_WritePin(LD2_GPIO_Port, LD2_Pin, GPIO_PIN_RESET);

	/*Configure GPIO pin Output Level */
	HAL_GPIO_WritePin(DMX_EN_GPIO_Port, DMX_EN_Pin, GPIO_PIN_SET);

	/*Configure GPIO pin : B1_Pin */
	GPIO_InitStruct.Pin = B1_Pin;
	GPIO_InitStruct.Mode = GPIO_MODE_IT_FALLING;
	GPIO_InitStruct.Pull = GPIO_NOPULL;
	HAL_GPIO_Init(B1_GPIO_Port, &GPIO_InitStruct);

	/*Configure GPIO pins : LD2_Pin DMX_EN_Pin */
	GPIO_InitStruct.Pin = LD2_Pin | DMX_EN_Pin;
	GPIO_InitStruct.Mode = GPIO_MODE_OUTPUT_PP;
	GPIO_InitStruct.Pull = GPIO_NOPULL;
	GPIO_InitStruct.Speed = GPIO_SPEED_FREQ_LOW;
	HAL_GPIO_Init(GPIOA, &GPIO_InitStruct);

	/*Configure GPIO pin : B0_Pin */
	GPIO_InitStruct.Pin = B0_Pin;
	GPIO_InitStruct.Mode = GPIO_MODE_IT_RISING;
	GPIO_InitStruct.Pull = GPIO_NOPULL;
	HAL_GPIO_Init(B0_GPIO_Port, &GPIO_InitStruct);

	/*Configure GPIO pin : B2_Pin */
	GPIO_InitStruct.Pin = B2_Pin;
	GPIO_InitStruct.Mode = GPIO_MODE_IT_RISING;
	GPIO_InitStruct.Pull = GPIO_NOPULL;
	HAL_GPIO_Init(B2_GPIO_Port, &GPIO_InitStruct);

}

void Error_Handler(void) {
	while (1) {
	}
}

/************************ (C) COPYRIGHT STMicroelectronics *****END OF FILE****/
